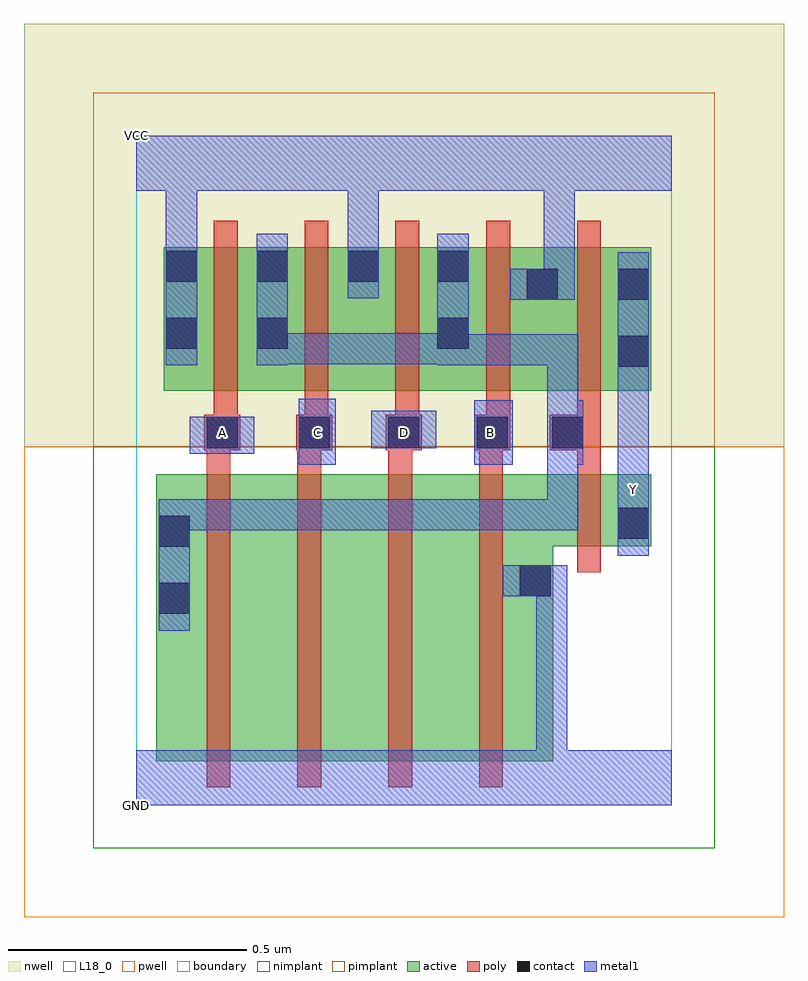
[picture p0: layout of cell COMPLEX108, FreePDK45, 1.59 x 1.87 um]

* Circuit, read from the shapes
.subckt COMPLEX108 A B C D GND VCC Y
M1 n1 A n2 VSUBS nfet w=0.6u l=0.05u
M2 n3 C n1 VSUBS nfet w=0.6u l=0.05u
M3 n4 D n3 VSUBS nfet w=0.6u l=0.05u
M4 GND B n4 VSUBS nfet w=0.6u l=0.05u
M5 Y n2 GND VSUBS nfet w=0.15u l=0.05u
M6 n2 A VCC n5 pfet w=0.3u l=0.05u
M7 VCC C n2 n5 pfet w=0.3u l=0.05u
M8 n2 D VCC n5 pfet w=0.3u l=0.05u
M9 VCC B n2 n5 pfet w=0.3u l=0.05u
M10 Y n2 VCC n5 pfet w=0.3u l=0.05u
.ends

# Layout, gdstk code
import gdstk
lib = gdstk.Library(unit=1e-6, precision=1e-09)
def R(c, l, rs):  # rectangles x0, y0, x1, y1
    for r in rs: c.add(gdstk.rectangle(r[:2], r[2:], *l))
def A(c, l, x, y, w, h, nx, ny, dx, dy):  # array of equal rectangles
    R(c, l, [(x+i*dx, y+j*dy, x+i*dx+w, y+j*dy+h) for i in range(nx) for j in range(ny)])
active = (1, 0)
pwell = (2, 0)
nwell = (3, 0)
nimplant = (4, 0)
pimplant = (5, 0)
poly = (9, 0)
contact = (10, 0)
metal1 = (11, 0)
L18_0 = (18, 0)
boundary = (235, 0)

complex108 = lib.new_cell('COMPLEX108')
R(complex108, active, [(0.042,0.092,0.267,0.692), (0.267,0.092,0.457,0.692), (0.457,0.092,0.647,0.692), (0.647,0.092,0.872,0.692), (0.797,0.092,0.872,0.542), (0.042,0.095,0.147,0.692), (0.797,0.542,1.077,0.692), (1.002,0.542,1.077,0.692), (0.057,0.867,0.132,1.167), (0.057,0.867,0.322,1.167), (0.247,0.867,0.322,1.167), (0.247,0.867,0.512,1.167), (0.437,0.867,0.7,1.167), (0.625,0.867,0.887,1.167), (0.812,0.867,1.077,1.167), (1.002,0.867,1.077,1.167), (0.625,0.95,0.7,1.167), (0.437,1.002,0.512,1.167), (0.812,1.007,0.887,1.167)])
R(complex108, pwell, [(-0.235,-0.235,1.355,0.75)])
R(complex108, nwell, [(-0.235,0.75,1.355,1.635)])
R(complex108, nimplant, [(-0.09,-0.09,1.21,0.75)])
R(complex108, pimplant, [(-0.09,0.75,1.21,1.49)])
A(complex108, poly, 0.147, 0.037, 0.05, 0.71, 4, 1, 0.19, 0)
A(complex108, poly, 0.147, 0.697, 0.05, 0.095, 4, 1, 0.19, 0)
A(complex108, poly, 0.162, 0.767, 0.05, 0.095, 5, 1, 0.19, 0)
A(complex108, poly, 0.162, 0.812, 0.05, 0.41, 5, 1, 0.19, 0)
R(complex108, poly, [(0.922,0.487,0.972,0.747), (0.922,0.697,0.972,0.792), (0.142,0.742,0.217,0.817), (0.335,0.742,0.41,0.817), (0.522,0.742,0.597,0.817), (0.707,0.742,0.782,0.817), (0.865,0.742,0.972,0.817)])
A(complex108, contact, 0.062, 1.095, 0.065, 0.065, 3, 1, 0.19, 0)
R(complex108, contact, [(0.047,0.4,0.112,0.465), (0.802,0.437,0.867,0.502), (0.047,0.54,0.112,0.605), (1.007,0.557,1.072,0.622), (0.147,0.747,0.212,0.812), (0.34,0.747,0.405,0.812), (0.527,0.747,0.592,0.812), (0.712,0.747,0.777,0.812), (0.87,0.747,0.935,0.812), (1.007,0.917,1.072,0.982), (0.062,0.955,0.127,1.02), (0.252,0.955,0.317,1.02), (0.63,0.955,0.695,1.02), (0.817,1.057,0.882,1.122), (1.007,1.057,1.072,1.122), (0.63,1.095,0.695,1.16)])
R(complex108, metal1, [(0,0,1.12,0.115), (0.837,0.05,0.902,0.502), (0.047,0.365,0.112,0.64), (0.767,0.437,0.902,0.502), (1.007,0.522,1.072,0.657), (0.047,0.575,0.112,0.64), (0.047,0.575,0.112,0.64), (0.047,0.575,0.37,0.64), (0.305,0.575,0.37,0.64), (0.305,0.575,0.37,0.64), (0.305,0.575,0.37,0.64), (0.305,0.575,0.507,0.64), (0.442,0.575,0.507,0.64), (0.442,0.575,0.507,0.64), (0.442,0.575,0.507,0.64), (0.442,0.575,0.645,0.64), (0.58,0.575,0.645,0.64), (0.58,0.575,0.645,0.64), (0.58,0.575,0.645,0.64), (0.58,0.575,0.925,0.64), (0.86,0.575,0.925,0.64), (0.86,0.575,0.925,0.777), (1.007,0.592,1.072,0.657), (1.007,0.592,1.072,0.727), (1.007,0.662,1.072,0.947), (0.34,0.712,0.417,0.85), (0.707,0.712,0.787,0.847), (0.86,0.712,0.925,0.777), (0.86,0.712,0.935,0.777), (0.86,0.712,0.925,0.985), (0.87,0.712,0.935,0.847), (0.112,0.735,0.247,0.812), (0.492,0.747,0.627,0.825), (1.007,0.882,1.072,1.157), (0.062,0.92,0.127,1.195), (0.252,0.92,0.317,1.195), (0.63,0.92,0.695,1.195), (0.63,0.92,0.695,0.985), (0.63,0.92,0.695,0.985), (0.63,0.92,0.925,0.985), (0.86,0.92,0.925,0.985), (0.252,0.922,0.317,0.987), (0.252,0.922,0.317,0.987), (0.252,0.922,0.507,0.987), (0.442,0.922,0.507,0.987), (0.442,0.922,0.507,0.987), (0.442,0.922,0.507,0.987), (0.442,0.922,0.695,0.987), (0.782,1.057,0.917,1.122), (0.852,1.057,0.917,1.122), (0.852,1.057,0.917,1.122), (0.852,1.057,0.917,1.35), (0.442,1.06,0.507,1.195), (0.062,1.13,0.127,1.195), (0.062,1.13,0.127,1.195), (0.062,1.13,0.127,1.35), (0.442,1.13,0.507,1.35), (0,1.285,1.12,1.4), (0.442,1.285,0.507,1.35), (0.442,1.285,0.507,1.35)])
A(complex108, L18_0, 0.347, 0.747, 0.065, 0.065, 3, 1, 0.18, 0)
R(complex108, L18_0, [(0,0,1.12,0.115), (0.837,0.05,0.902,0.502), (0.767,0.437,0.902,0.502), (1.007,0.522,1.072,0.657), (1.007,0.592,1.072,0.657), (1.007,0.592,1.072,0.727), (1.007,0.627,1.072,0.692), (1.007,0.662,1.072,0.947), (0.34,0.712,0.417,0.85), (0.707,0.712,0.787,0.847), (0.112,0.735,0.247,0.812), (0.147,0.747,0.212,0.812), (0.492,0.747,0.627,0.825), (1.007,0.882,1.072,1.157), (0.062,0.92,0.127,1.195), (0.782,1.057,0.917,1.122), (0.852,1.057,0.917,1.122), (0.852,1.057,0.917,1.122), (0.852,1.057,0.917,1.35), (0.442,1.06,0.507,1.195), (0.062,1.13,0.127,1.195), (0.062,1.13,0.127,1.195), (0.062,1.13,0.127,1.35), (0.442,1.13,0.507,1.35), (0,1.285,1.12,1.4), (0.442,1.285,0.507,1.35), (0.442,1.285,0.507,1.35)])
R(complex108, boundary, [(0,0,1.12,1.4)])
complex108.add(gdstk.Label('A', (0.18,0.78), layer=11, texttype=0))
complex108.add(gdstk.Label('B', (0.74,0.78), layer=11, texttype=0))
complex108.add(gdstk.Label('C', (0.38,0.78), layer=11, texttype=0))
complex108.add(gdstk.Label('D', (0.56,0.78), layer=11, texttype=0))
complex108.add(gdstk.Label('Y', (1.04,0.66), layer=11, texttype=0))
complex108.add(gdstk.Label('VCC', (0,1.4), layer=11, texttype=0))
complex108.add(gdstk.Label('GND', (0,0), layer=11, texttype=0))

lib.write_gds('COMPLEX108.gds')
